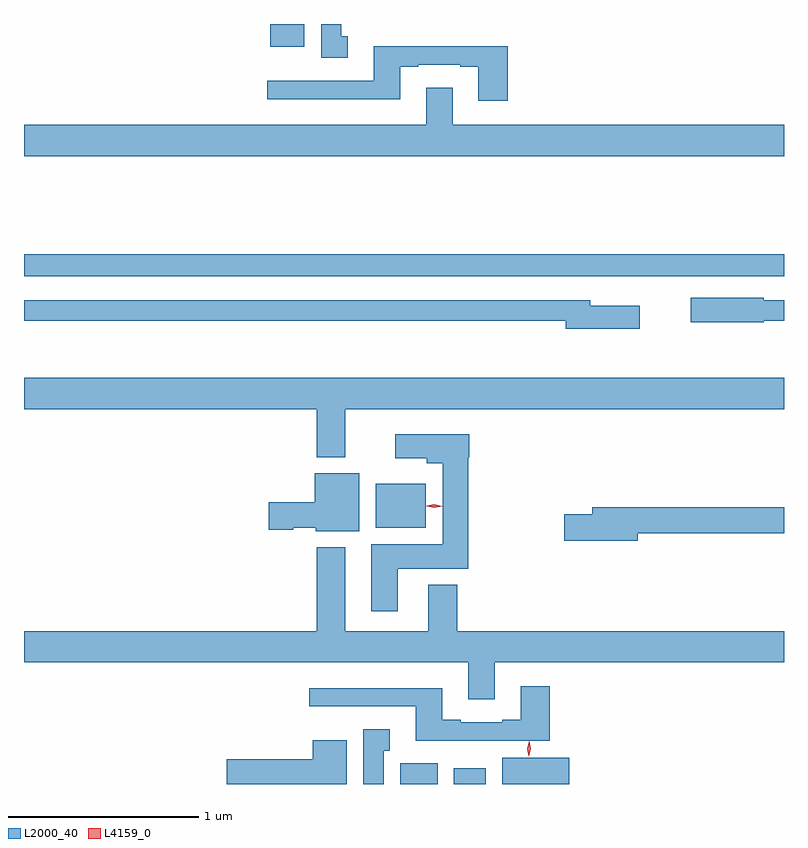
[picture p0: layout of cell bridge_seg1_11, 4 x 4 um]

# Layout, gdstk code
import gdstk
lib = gdstk.Library(unit=1e-6, precision=1e-09)
def R(c, l, rs):  # rectangles x0, y0, x1, y1
    for r in rs: c.add(gdstk.rectangle(r[:2], r[2:], *l))
def P(c, l, *ps):  # polygons
    for p in ps: c.add(gdstk.Polygon(p, *l))
L2000_40 = (2000, 40)
L4159_0 = (4159, 0)

bridge_seg1_11 = lib.new_cell('bridge_seg1_11')
R(bridge_seg1_11, L2000_40, [(790.958,559.083,791.155,559.192), (791.24,559.083,791.407,559.165), (791.495,559.083,791.848,559.222), (790.829,560.432,791.092,560.662), (790.274,562.964,790.453,563.083)])
P(bridge_seg1_11, L2000_40, [(790.681,563.018),(790.648,563.018),(790.648,563.083),(790.541,563.083),(790.541,562.905),(790.681,562.905)],
  [(791.522,562.966),(790.817,562.966),(790.817,562.785),(790.257,562.785),(790.257,562.688),(790.957,562.688),(790.957,562.857),(791.053,562.857),(791.053,562.869),(791.273,562.869),(791.273,562.857),(791.369,562.857),(791.369,562.68),(791.522,562.68)],
  [(792.977,562.552),(791.233,562.552),(791.233,562.747),(791.093,562.747),(791.093,562.552),(788.977,562.552),(788.977,562.388),(792.977,562.388)],
  [(792.398,561.756),(792.977,561.756),(792.977,561.872),(788.977,561.872),(788.977,561.756),(792.052,561.756),(792.052,561.755),(792.398,561.755)],
  [(792.87,561.522),(792.977,561.522),(792.977,561.63),(792.87,561.63),(792.87,561.643),(792.486,561.643),(792.486,561.514),(792.87,561.514)],
  [(792.217,561.601),(791.956,561.601),(791.956,561.63),(788.977,561.63),(788.977,561.522),(791.828,561.522),(791.828,561.479),(792.217,561.479)],
  [(790.669,561.056),(792.977,561.056),(792.977,561.22),(788.977,561.22),(788.977,561.056),(790.517,561.056),(790.517,560.804),(790.669,560.804)],
  [(790.945,560.216),(791.315,560.216),(791.315,560.802),(791.32,560.802),(791.32,560.923),(790.932,560.923),(790.932,560.798),(791.097,560.798),(791.097,560.771),(791.18,560.771),(791.18,560.344),(790.805,560.344),(790.805,559.992),(790.945,559.992)],
  [(790.741,560.719),(790.508,560.719),(790.508,560.567),(790.266,560.567),(790.266,560.42),(790.395,560.42),(790.395,560.432),(790.512,560.432),(790.512,560.414),(790.741,560.414)],
  [(792.208,560.404),(792.977,560.404),(792.977,560.54),(791.969,560.54),(791.969,560.504),(791.82,560.504),(791.82,560.362),(792.208,560.362)],
  [(791.455,559.724),(792.977,559.724),(792.977,559.888),(791.258,559.888),(791.258,560.131),(791.105,560.131),(791.105,559.888),(790.669,559.888),(790.669,560.329),(790.517,560.329),(790.517,559.888),(788.977,559.888),(788.977,559.724),(791.315,559.724),(791.315,559.53),(791.455,559.53)],
  [(791.399,559.311),(791.744,559.311),(791.744,559.597),(791.591,559.597),(791.591,559.42),(791.495,559.42),(791.495,559.407),(791.275,559.407),(791.275,559.42),(791.179,559.42),(791.179,559.588),(790.479,559.588),(790.479,559.491),(791.039,559.491),(791.039,559.31),(791.399,559.31)],
  [(790.87,559.259),(790.903,559.259),(790.903,559.372),(790.763,559.372),(790.763,559.083),(790.87,559.083)],
  [(790.675,559.312),(790.496,559.312),(790.496,559.214),(790.044,559.214),(790.044,559.083),(790.675,559.083)])
P(bridge_seg1_11, L4159_0, [(791.634,559.228),(791.634,559.228),(791.625,559.269),(791.635,559.309),(791.635,559.309),(791.635,559.309),(791.645,559.268),(791.634,559.228)],
  [(791.137,560.536),(791.096,560.546),(791.096,560.546),(791.096,560.547),(791.137,560.556),(791.177,560.546),(791.177,560.546),(791.177,560.546)])

lib.write_gds('bridge_seg1_11.gds')
